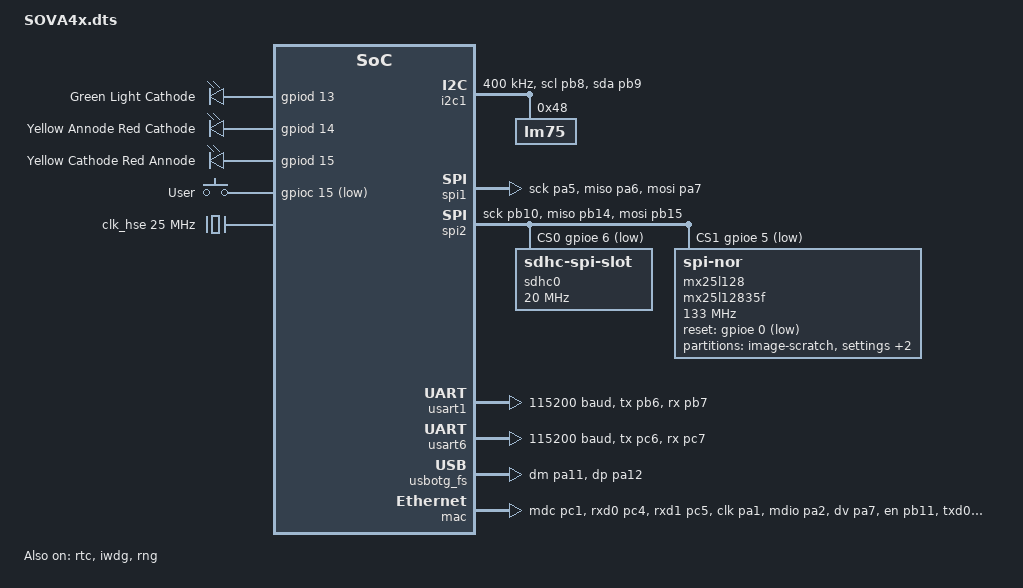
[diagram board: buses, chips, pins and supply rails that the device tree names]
#include "bb-header.dtsi"

/ {
	chosen {
		zephyr,console = &usart6;
		zephyr,shell-uart = &usart6;
		zephyr,uart-mcumgr = &usart6;
		zephyr,sram = &sram0;
		zephyr,ccm = &ccm0;
		zephyr,canbus = &can1;
	};

	leds {
		compatible = "gpio-leds";
		glc_led: led_1 {
			gpios = <&gpiod 13 GPIO_ACTIVE_HIGH>;
			label = "Green Light Cathode";
		};
		yarc_led: led_2 {
			gpios = <&gpiod 14 GPIO_ACTIVE_HIGH>, <&gpiod 15 GPIO_ACTIVE_LOW>;
			label = "Yellow Annode Red Cathode";
		};
		ycra_led: led_3 {
			gpios = <&gpiod 15 GPIO_ACTIVE_HIGH>, <&gpiod 14 GPIO_ACTIVE_LOW>;
			label = "Yellow Cathode Red Annode";
		};
	};
	gpio_keys {
		compatible = "gpio-keys";
		user_button: button {
			label = "User";
			gpios = <&gpioc 15 GPIO_ACTIVE_LOW>;
		};
	};

	aliases {
		led0 = &glc_led;
		led1 = &yarc_led;
		led2 = &ycra_led;
		sw0 = &user_button;
		bootloader-led0 = &glc_led;
		sdhc0 = &sdhc0;
	};
};

&clk_hse {
	clock-frequency = <DT_FREQ_M(25)>;
	status = "okay";
};

&pll {
	div-m = <25>;
	mul-n = <336>;
	div-p = <2>;
	div-q = <7>;
	clocks = <&clk_hse>;
	status = "okay";
};

&rcc {
	clocks = <&pll>;
	clock-frequency = <DT_FREQ_M(168)>; /* highest value to get a precise USB clock */
	ahb-prescaler = <1>;
	apb1-prescaler = <4>;
	apb2-prescaler = <2>;
};

&i2c1 {
	pinctrl-0 = <&i2c1_scl_pb8 &i2c1_sda_pb9>;
	pinctrl-names = "default";
	status = "okay";
	clock-frequency = <I2C_BITRATE_FAST>;
	lm75@48 {
		compatible = "lm75";
		// label = "lm75";
		reg = <0x48>;
	};
	eeprom: M24256_B@50 {
		status = "disabled";
		compatible = "atmel,at24";
		reg = <0x50>;
		// label = "eeprom";
		size = <0x8000>;
		pagesize = <64>;
		address-width = <16>;
		timeout = <10>;
	};
};

&spi1 {
	pinctrl-0 = <&spi1_sck_pa5 &spi1_miso_pa6 &spi1_mosi_pa7>;
	pinctrl-names = "default";
	status = "okay";
};


&spi2 {
	pinctrl-0 = <&spi2_sck_pb10 &spi2_miso_pb14 &spi2_mosi_pb15>;
	pinctrl-names = "default";
	cs-gpios = <&gpioe 6 GPIO_ACTIVE_LOW>, <&gpioe 5 GPIO_ACTIVE_LOW>;
	status = "okay";
	sdhc0: sdhc@0 {
		compatible = "zephyr,sdhc-spi-slot";
		reg = <0>;
		status = "okay";
		mmc {
			compatible = "zephyr,sdmmc-disk";
			status = "okay";
		};
		spi-max-frequency = <20000000>;
	};

	mx25l128: mx25l12835f@1 {
		compatible = "jedec,spi-nor";
		// label = "MX25L128";
		reg = <1>;
		size = <0x1000000>;
		spi-max-frequency = <DT_FREQ_M(133)>;
		jedec-id = [ c2 20 18  ];
		status = "okay";
		reset-gpios = <&gpioe 0 GPIO_ACTIVE_LOW>;
		partitions {
			compatible = "fixed-partitions";
			#address-cells = <1>;
			#size-cells = <1>;
			/* second image slot */
			scratch_partition: partition@0 {
				label = "image-scratch";
				reg = <0x0 DT_SIZE_K(128)>;
			};
			settings_partition: partition@20000 {
				label = "settings";
				reg = <0x20000 0x710000>;
			};
			storage_partition: partition@730000 {
				label = "storage";
				reg = <0x730000 0x710000>;
			};
			slot1_partition: partition@E40000 {
				label = "image-1";
				reg = <0xE40000 DT_SIZE_K(1792)>;
			};

		};
	};
};

&spi3 {
	pinctrl-0 = <&spi3_sck_pc10 &spi3_miso_pc11 &spi3_mosi_pc12>;
	pinctrl-names = "default";
	status = "disabled";
    dmas = <&dma1 5 0 0x28440 0x03>,
          <&dma1 2 0 0x28480 0x03>;
    dma-names = "tx", "rx";
};

&usart1 {
	pinctrl-0 = <&usart1_tx_pb6 &usart1_rx_pb7>;
	pinctrl-names = "default";
	current-speed = <115200>;
	status = "okay";
};

/* 
выводы CAN1 и USART2 соеденены на схеме платы
при активации CAN1 требуется выключить USART2
*/
&can1 {
	pinctrl-0 = <&can1_rx_pd0 &can1_tx_pd1>;
	pinctrl-names = "default";
	bus-speed = <125000>;
	status = "disabled";
};

&usart2 {
	pinctrl-0 = <&usart2_tx_pd5 &usart2_rx_pd6 &usart2_rts_pd4 &usart2_cts_pd3>;
	pinctrl-names = "default";
	current-speed = <115200>;
	status = "disabled";
};

&usart3 {
	pinctrl-0 = <&usart3_tx_pd8 &usart3_rx_pd9 &usart3_rts_pd12 &usart3_cts_pd11>;
	pinctrl-names = "default";
	current-speed = <115200>;
	status = "disabled";
};


&usart6 {
	pinctrl-0 = <&usart6_tx_pc6 &usart6_rx_pc7>;
	pinctrl-names = "default";
	current-speed = <115200>;
	status = "okay";
};

zephyr_udc0: &usbotg_fs {
	pinctrl-0 = <&usb_otg_fs_dm_pa11 &usb_otg_fs_dp_pa12>;
	pinctrl-names = "default";
	status = "okay";
};

&rtc {
	status = "okay";
};

&iwdg {
	status = "okay";
};

&rng {
	status = "okay";
};

&dma1 {
	status = "okay";
};

&dma2 {
	status = "okay";
};

&mac {
	status = "okay";
	pinctrl-0 = <&eth_mdc_pc1
	&eth_rxd0_pc4
	&eth_rxd1_pc5
	&eth_ref_clk_pa1
	&eth_mdio_pa2
	&eth_crs_dv_pa7
	&eth_tx_en_pb11
	&eth_txd0_pb12
	&eth_txd1_pb13
	>;
	pinctrl-names = "default";
};
